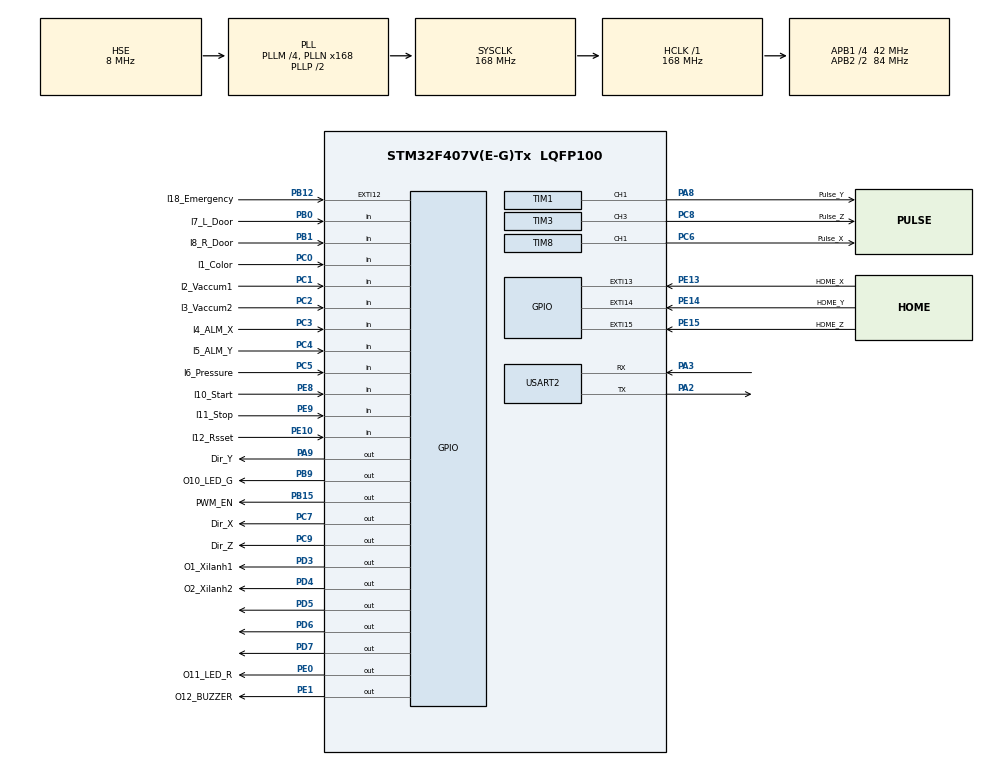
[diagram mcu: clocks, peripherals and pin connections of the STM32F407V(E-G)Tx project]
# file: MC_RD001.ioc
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Mcu.Family=STM32F4
Mcu.Name=STM32F407V(E-G)Tx
Mcu.Package=LQFP100
NVIC.EXTI15_10_IRQn=true\:0\:0\:true\:false\:true\:true\:true\:true
NVIC.PriorityGroup=NVIC_PRIORITYGROUP_4
NVIC.TIM1_BRK_TIM9_IRQn=true\:1\:0\:true\:false\:true\:true\:true\:true
NVIC.TIM2_IRQn=true\:1\:0\:true\:false\:true\:true\:true\:true
NVIC.TIM5_IRQn=true\:1\:0\:true\:false\:true\:true\:true\:true
NVIC.TIM6_DAC_IRQn=true\:10\:0\:true\:false\:true\:true\:true\:true
NVIC.USART2_IRQn=true\:5\:0\:true\:false\:true\:true\:true\:true
PA13.Mode=Serial_Wire
PA13.Signal=SYS_JTMS-SWDIO
PA14.Mode=Serial_Wire
PA14.Signal=SYS_JTCK-SWCLK
PA2.Mode=Asynchronous
PA2.Signal=USART2_TX
PA3.Mode=Asynchronous
PA3.Signal=USART2_RX
PA8.GPIO_Label=Pulse_Y
PA8.GPIO_PuPd=GPIO_PULLDOWN
PA8.GPIO_Speed=GPIO_SPEED_FREQ_HIGH
PA8.Signal=S_TIM1_CH1
PA9.GPIO_Label=Dir_Y
PA9.Signal=GPIO_Output
PB0.GPIO_Label=I7_L_Door
PB0.Signal=GPIO_Input
PB1.GPIO_Label=I8_R_Door
PB1.Signal=GPIO_Input
PB12.GPIO_Label=I18_Emergency
PB12.Signal=GPXTI12
PB15.GPIO_Label=PWM_EN
PB15.PinState=GPIO_PIN_RESET
PB15.Signal=GPIO_Output
PB9.GPIO_Label=O10_LED_G
PB9.Signal=GPIO_Output
PC0.GPIO_Label=I1_Color
PC0.Signal=GPIO_Input
PC1.GPIO_Label=I2_Vaccum1
PC1.GPIO_PuPd=GPIO_NOPULL
PC1.Signal=GPIO_Input
PC2.GPIO_Label=I3_Vaccum2
PC2.Signal=GPIO_Input
PC3.GPIO_Label=I4_ALM_X
PC3.Signal=GPIO_Input
PC4.GPIO_Label=I5_ALM_Y
PC4.Signal=GPIO_Input
PC5.GPIO_Label=I6_Pressure
PC5.Signal=GPIO_Input
PC6.GPIO_Label=Pulse_X
PC6.GPIO_PuPd=GPIO_PULLDOWN
PC6.GPIO_Speed=GPIO_SPEED_FREQ_HIGH
PC6.Signal=S_TIM8_CH1
PC7.GPIO_Label=Dir_X
PC7.Signal=GPIO_Output
PC8.GPIO_Label=Pulse_Z
PC8.GPIO_PuPd=GPIO_PULLDOWN
PC8.GPIO_Speed=GPIO_SPEED_FREQ_HIGH
PC8.Signal=S_TIM3_CH3
PC9.GPIO_Label=Dir_Z
PC9.Signal=GPIO_Output
PD3.GPIO_Label=O1_Xilanh1
PD3.PinState=GPIO_PIN_SET
PD3.Signal=GPIO_Output
PD4.GPIO_Label=O2_Xilanh2
PD4.PinState=GPIO_PIN_SET
PD4.Signal=GPIO_Output
PD5.PinState=GPIO_PIN_SET
PD5.Signal=GPIO_Output
PD6.PinState=GPIO_PIN_SET
PD6.Signal=GPIO_Output
PD7.PinState=GPIO_PIN_SET
PD7.Signal=GPIO_Output
PE0.GPIO_Label=O11_LED_R
PE0.Signal=GPIO_Output
PE1.GPIO_Label=O12_BUZZER
PE1.Signal=GPIO_Output
PE10.GPIO_Label=I12_Rsset
PE10.Signal=GPIO_Input
PE13.GPIO_Label=HOME_X
PE13.GPIO_ModeDefaultEXTI=GPIO_MODE_IT_RISING
PE13.GPIO_PuPd=GPIO_NOPULL
PE13.Signal=GPXTI13
PE14.GPIO_Label=HOME_Y
PE14.GPIO_ModeDefaultEXTI=GPIO_MODE_IT_RISING
PE14.GPIO_PuPd=GPIO_NOPULL
PE14.Signal=GPXTI14
PE15.GPIO_Label=HOME_Z
PE15.GPIO_ModeDefaultEXTI=GPIO_MODE_IT_RISING
PE15.GPIO_PuPd=GPIO_NOPULL
PE15.Signal=GPXTI15
PE8.GPIO_Label=I10_Start
PE8.Signal=GPIO_Input
PE9.GPIO_Label=I11_Stop
PE9.Signal=GPIO_Input
PH0-OSC_IN.Mode=HSE-External-Oscillator
PH0-OSC_IN.Signal=RCC_OSC_IN
PH1-OSC_OUT.Mode=HSE-External-Oscillator
PH1-OSC_OUT.Signal=RCC_OSC_OUT
ProjectManager.HeapSize=0x200
ProjectManager.StackSize=0x400
ProjectManager.TargetToolchain=STM32CubeIDE
RCC.48MHZClocksFreq_Value=84000000
RCC.AHBFreq_Value=168000000
RCC.APB1CLKDivider=RCC_HCLK_DIV4
RCC.APB1Freq_Value=42000000
RCC.APB1TimFreq_Value=84000000
RCC.APB2CLKDivider=RCC_HCLK_DIV2
RCC.APB2Freq_Value=84000000
RCC.APB2TimFreq_Value=168000000
RCC.CortexFreq_Value=168000000
RCC.HCLKFreq_Value=168000000
RCC.HSE_VALUE=8000000
RCC.HSI_VALUE=16000000
RCC.LSE_VALUE=32768
RCC.PLLM=4
RCC.PLLN=168
RCC.PLLSourceVirtual=RCC_PLLSOURCE_HSE
RCC.SYSCLKFreq_VALUE=168000000
RCC.SYSCLKSource=RCC_SYSCLKSOURCE_PLLCLK
RCC.VCOOutputFreq_Value=336000000
SH.S_TIM1_CH1.0=TIM1_CH1,PWM Generation1 CH1
SH.S_TIM3_CH3.0=TIM3_CH3,PWM Generation3 CH3
SH.S_TIM8_CH1.0=TIM8_CH1,PWM Generation1 CH1
TIM1.Channel-PWM\ Generation1\ CH1=TIM_CHANNEL_1
TIM1.OCPolarity_1=TIM_OCPOLARITY_LOW
TIM1.Period=100-1
TIM1.Prescaler=168-1
TIM1.Pulse-PWM\ Generation1\ CH1=50-1
TIM1.TIM_MasterOutputTrigger=TIM_TRGO_OC1REF
TIM2.Period=20-1
TIM3.Channel-PWM\ Generation3\ CH3=TIM_CHANNEL_3
TIM3.OCPolarity_3=TIM_OCPOLARITY_LOW
TIM3.Period=100-1
TIM3.Prescaler=84-1
TIM3.Pulse-PWM\ Generation3\ CH3=50-1
TIM3.TIM_MasterOutputTrigger=TIM_TRGO_OC3REF
TIM5.Period=20-1
TIM6.Period=1000-1
TIM6.Prescaler=84-1
TIM8.Channel-PWM\ Generation1\ CH1=TIM_CHANNEL_1
TIM8.OCPolarity_1=TIM_OCPOLARITY_LOW
TIM8.Period=100-1
TIM8.Prescaler=168-1
TIM8.Pulse-PWM\ Generation1\ CH1=50-1
TIM8.TIM_MasterOutputTrigger=TIM_TRGO_OC1REF
TIM9.Period=20-1
USART2.VirtualMode=VM_ASYNC
VP_TIM2_VS_ClockSourceITR.Mode=TriggerSource_ITR0
VP_TIM2_VS_ControllerModeClock.Mode=Clock Mode
VP_TIM5_VS_ClockSourceITR.Mode=TriggerSource_ITR3
VP_TIM5_VS_ControllerModeClock.Mode=Clock Mode
VP_TIM6_VS_ClockSourceINT.Mode=Enable_Timer
VP_TIM9_VS_ClockSourceITR.Mode=TriggerSource_ITR1
VP_TIM9_VS_ControllerModeClock.Mode=Clock Mode
board=custom

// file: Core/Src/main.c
/* USER CODE BEGIN Header */
/**
  ******************************************************************************
  * @file           : main.c
  * @brief          : Main program body
  ******************************************************************************
  * @attention
  *
  * Copyright (c) 2025 STMicroelectronics.
  * All rights reserved.
  *
  * This software is licensed under terms that can be found in the LICENSE file
  * in the root directory of this software component.
  * If no LICENSE file comes with this software, it is provided AS-IS.
  *
  ******************************************************************************
  */
/* USER CODE END Header */
#include "main.h"

/* USER CODE BEGIN Includes */
#include "motor_ctr.h"
#include "modbusSlave.h"
#include "modbus_task.h"
#include "axis_task.h"
#include "glass.h"
/* USER CODE END Includes */

TIM_HandleTypeDef htim1;
TIM_HandleTypeDef htim2;
TIM_HandleTypeDef htim3;
TIM_HandleTypeDef htim5;
TIM_HandleTypeDef htim6;
TIM_HandleTypeDef htim8;
TIM_HandleTypeDef htim9;

UART_HandleTypeDef huart2;

/* USER CODE BEGIN PV */
volatile uint32_t tick_ms = 0;
volatile uint8_t flag_10ms = 0;
volatile uint8_t flag_50ms = 0;
volatile uint8_t flag_1000ms = 0;
/* USER CODE END PV */

void SystemClock_Config(void);
static void MX_GPIO_Init(void);
static void MX_TIM1_Init(void);
static void MX_TIM2_Init(void);
static void MX_TIM3_Init(void);
static void MX_TIM5_Init(void);
static void MX_TIM8_Init(void);
static void MX_TIM9_Init(void);
static void MX_TIM6_Init(void);
static void MX_USART2_UART_Init(void);

/* USER CODE BEGIN 0 */
void HAL_TIM_PeriodElapsedCallback(TIM_HandleTypeDef *htim)
{
    if (htim == &htim6)
    {
        tick_ms++;

        if ((tick_ms % 10) == 0)   flag_10ms = 1;
        if ((tick_ms % 50) == 0)   flag_50ms = 1;
        if ((tick_ms % 1000) == 0)  flag_1000ms = 1;
    }
	if(htim->Instance == TIM5){
	  Motor_Stop(AXIS_X);
	}
	if(htim->Instance == TIM2){
	  Motor_Stop(AXIS_Y);
	}
	if(htim->Instance == TIM9){
	  Motor_Stop(AXIS_Z);
	}
}
/* USER CODE END 0 */

int main(void)
{

  /* MCU Configuration--------------------------------------------------------*/

  /* Reset of all peripherals, Initializes the Flash interface and the Systick. */
  HAL_Init();

  /* Configure the system clock */
  SystemClock_Config();

  /* Initialize all configured peripherals */
  MX_GPIO_Init();
  MX_TIM1_Init();
  MX_TIM2_Init();
  MX_TIM3_Init();
  MX_TIM5_Init();
  MX_TIM8_Init();
  MX_TIM9_Init();
  MX_TIM6_Init();
  MX_USART2_UART_Init();
  /* USER CODE BEGIN 2 */
  HAL_TIM_Base_Start_IT(&htim2);
  HAL_TIM_Base_Start_IT(&htim5);
  HAL_TIM_Base_Start_IT(&htim9);
  HAL_TIM_Base_Start_IT(&htim6);
  /* USER CODE END 2 */

  /* Infinite loop */
  /* USER CODE BEGIN WHILE */
  HAL_Delay(1000);
  Axis_Init();
  Modbus_TaskInit(&huart2);
  //Home_All();
  PanelScanner_Init();
  Axis_Home();
  //PanelScanner_StartRange(0, 3);
  while (1)
  {
    /* USER CODE END WHILE */

    /* USER CODE BEGIN 3 */
//	  Motor_SetFeed_X(50000.0f);
//	  Set_Dir_X(RIGHT);
//	  Motor_Start_X(50000);
//	  Motor_SetFeed_Y(10000.0f);
//	  Set_Dir_Y(FORWARD);
//	  Motor_Start_Y(10000);
//	  Motor_SetFeed_Z(20000.0f);
//	  Set_Dir_Z(DOWN);
//	  Motor_Start_Z(20000);
//
//	  HAL_Delay(1000);
//
//	  Set_Dir_X(LEFT);
//	  Motor_Start_X(50000);
//	  Set_Dir_Y(BACKWARD);
//	  Motor_Start_Y(10000);
//	  Set_Dir_Z(UP);
//	  Motor_Start_Z(20000);
//	  HAL_Delay(1000);

	if (flag_10ms)
	{
		flag_10ms = 0;
		Axis_TaskUpdate();
		Modbus_TaskUpdate();
		PanelScanner_Update();
		Modbus_ExecuteCommands();
	}
//
//	if (flag_50ms)
//	{
//		flag_50ms = 0;
//		// Task_50ms();
//	}
//
	if (flag_1000ms)
	{
		flag_1000ms = 0;
//	  HAL_GPIO_TogglePin(GPIOD, GPIO_PIN_5);
//	  HAL_GPIO_TogglePin(GPIOD, GPIO_PIN_3);
//	  HAL_GPIO_TogglePin(GPIOD, GPIO_PIN_7);
	}
	//	#ifndef DEBUG
	//		__WFI();
	//	#endif
  }
  /* USER CODE END 3 */
}

void SystemClock_Config(void)
{
  RCC_OscInitTypeDef RCC_OscInitStruct = {0};
  RCC_ClkInitTypeDef RCC_ClkInitStruct = {0};

  /** Configure the main internal regulator output voltage
  */
  __HAL_RCC_PWR_CLK_ENABLE();
  __HAL_PWR_VOLTAGESCALING_CONFIG(PWR_REGULATOR_VOLTAGE_SCALE1);

  /** Initializes the RCC Oscillators according to the specified parameters
  * in the RCC_OscInitTypeDef structure.
  */
  RCC_OscInitStruct.OscillatorType = RCC_OSCILLATORTYPE_HSE;
  RCC_OscInitStruct.HSEState = RCC_HSE_ON;
  RCC_OscInitStruct.PLL.PLLState = RCC_PLL_ON;
  RCC_OscInitStruct.PLL.PLLSource = RCC_PLLSOURCE_HSE;
  RCC_OscInitStruct.PLL.PLLM = 4;
  RCC_OscInitStruct.PLL.PLLN = 168;
  RCC_OscInitStruct.PLL.PLLP = RCC_PLLP_DIV2;
  RCC_OscInitStruct.PLL.PLLQ = 4;
  if (HAL_RCC_OscConfig(&RCC_OscInitStruct) != HAL_OK)
  {
    Error_Handler();
  }

  /** Initializes the CPU, AHB and APB buses clocks
  */
  RCC_ClkInitStruct.ClockType = RCC_CLOCKTYPE_HCLK|RCC_CLOCKTYPE_SYSCLK
                              |RCC_CLOCKTYPE_PCLK1|RCC_CLOCKTYPE_PCLK2;
  RCC_ClkInitStruct.SYSCLKSource = RCC_SYSCLKSOURCE_PLLCLK;
  RCC_ClkInitStruct.AHBCLKDivider = RCC_SYSCLK_DIV1;
  RCC_ClkInitStruct.APB1CLKDivider = RCC_HCLK_DIV4;
  RCC_ClkInitStruct.APB2CLKDivider = RCC_HCLK_DIV2;

  if (HAL_RCC_ClockConfig(&RCC_ClkInitStruct, FLASH_LATENCY_5) != HAL_OK)
  {
    Error_Handler();
  }
}

static void MX_TIM1_Init(void)
{

  /* USER CODE BEGIN TIM1_Init 0 */
	//f_PWM = TIM_CLK / ((PSC + 1) × (ARR + 1))
	// f_Clock = 168MHz/168 = 1MHz
	// f_PWM = 1MHz/100 = 10kHz
	// Duty cycle = 49/100 ≈ 50%
  /* USER CODE END TIM1_Init 0 */

  TIM_MasterConfigTypeDef sMasterConfig = {0};
  TIM_OC_InitTypeDef sConfigOC = {0};
  TIM_BreakDeadTimeConfigTypeDef sBreakDeadTimeConfig = {0};

  htim1.Instance = TIM1;
  htim1.Init.Prescaler = 168-1;
  htim1.Init.CounterMode = TIM_COUNTERMODE_UP;
  htim1.Init.Period = 100-1;
  htim1.Init.ClockDivision = TIM_CLOCKDIVISION_DIV1;
  htim1.Init.RepetitionCounter = 0;
  htim1.Init.AutoReloadPreload = TIM_AUTORELOAD_PRELOAD_DISABLE;
  if (HAL_TIM_PWM_Init(&htim1) != HAL_OK)
  {
    Error_Handler();
  }
  sMasterConfig.MasterOutputTrigger = TIM_TRGO_OC1REF;
  sMasterConfig.MasterSlaveMode = TIM_MASTERSLAVEMODE_DISABLE;
  if (HAL_TIMEx_MasterConfigSynchronization(&htim1, &sMasterConfig) != HAL_OK)
  {
    Error_Handler();
  }
  sConfigOC.OCMode = TIM_OCMODE_PWM1;
  sConfigOC.Pulse = 50-1;
  sConfigOC.OCPolarity = TIM_OCPOLARITY_LOW;
  sConfigOC.OCNPolarity = TIM_OCNPOLARITY_HIGH;
  sConfigOC.OCFastMode = TIM_OCFAST_DISABLE;
  sConfigOC.OCIdleState = TIM_OCIDLESTATE_RESET;
  sConfigOC.OCNIdleState = TIM_OCNIDLESTATE_RESET;
  if (HAL_TIM_PWM_ConfigChannel(&htim1, &sConfigOC, TIM_CHANNEL_1) != HAL_OK)
  {
    Error_Handler();
  }
  sBreakDeadTimeConfig.OffStateRunMode = TIM_OSSR_DISABLE;
  sBreakDeadTimeConfig.OffStateIDLEMode = TIM_OSSI_DISABLE;
  sBreakDeadTimeConfig.LockLevel = TIM_LOCKLEVEL_OFF;
  sBreakDeadTimeConfig.DeadTime = 0;
  sBreakDeadTimeConfig.BreakState = TIM_BREAK_DISABLE;
  sBreakDeadTimeConfig.BreakPolarity = TIM_BREAKPOLARITY_HIGH;
  sBreakDeadTimeConfig.AutomaticOutput = TIM_AUTOMATICOUTPUT_DISABLE;
  if (HAL_TIMEx_ConfigBreakDeadTime(&htim1, &sBreakDeadTimeConfig) != HAL_OK)
  {
    Error_Handler();
  }
  HAL_TIM_MspPostInit(&htim1);

}

static void MX_TIM2_Init(void)
{

  TIM_SlaveConfigTypeDef sSlaveConfig = {0};
  TIM_MasterConfigTypeDef sMasterConfig = {0};

  htim2.Instance = TIM2;
  htim2.Init.Prescaler = 0;
  htim2.Init.CounterMode = TIM_COUNTERMODE_UP;
  htim2.Init.Period = 20-1;
  htim2.Init.ClockDivision = TIM_CLOCKDIVISION_DIV1;
  htim2.Init.AutoReloadPreload = TIM_AUTORELOAD_PRELOAD_DISABLE;
  if (HAL_TIM_Base_Init(&htim2) != HAL_OK)
  {
    Error_Handler();
  }
  sSlaveConfig.SlaveMode = TIM_SLAVEMODE_EXTERNAL1;
  sSlaveConfig.InputTrigger = TIM_TS_ITR0;
  if (HAL_TIM_SlaveConfigSynchro(&htim2, &sSlaveConfig) != HAL_OK)
  {
    Error_Handler();
  }
  sMasterConfig.MasterOutputTrigger = TIM_TRGO_RESET;
  sMasterConfig.MasterSlaveMode = TIM_MASTERSLAVEMODE_DISABLE;
  if (HAL_TIMEx_MasterConfigSynchronization(&htim2, &sMasterConfig) != HAL_OK)
  {
    Error_Handler();
  }

}

static void MX_TIM3_Init(void)
{

  TIM_MasterConfigTypeDef sMasterConfig = {0};
  TIM_OC_InitTypeDef sConfigOC = {0};

  htim3.Instance = TIM3;
  htim3.Init.Prescaler = 84-1;
  htim3.Init.CounterMode = TIM_COUNTERMODE_UP;
  htim3.Init.Period = 100-1;
  htim3.Init.ClockDivision = TIM_CLOCKDIVISION_DIV1;
  htim3.Init.AutoReloadPreload = TIM_AUTORELOAD_PRELOAD_DISABLE;
  if (HAL_TIM_PWM_Init(&htim3) != HAL_OK)
  {
    Error_Handler();
  }
  sMasterConfig.MasterOutputTrigger = TIM_TRGO_OC3REF;
  sMasterConfig.MasterSlaveMode = TIM_MASTERSLAVEMODE_DISABLE;
  if (HAL_TIMEx_MasterConfigSynchronization(&htim3, &sMasterConfig) != HAL_OK)
  {
    Error_Handler();
  }
  sConfigOC.OCMode = TIM_OCMODE_PWM1;
  sConfigOC.Pulse = 50-1;
  sConfigOC.OCPolarity = TIM_OCPOLARITY_LOW;
  sConfigOC.OCFastMode = TIM_OCFAST_DISABLE;
  if (HAL_TIM_PWM_ConfigChannel(&htim3, &sConfigOC, TIM_CHANNEL_3) != HAL_OK)
  {
    Error_Handler();
  }
  HAL_TIM_MspPostInit(&htim3);

}

static void MX_TIM5_Init(void)
{

  TIM_SlaveConfigTypeDef sSlaveConfig = {0};
  TIM_MasterConfigTypeDef sMasterConfig = {0};

  htim5.Instance = TIM5;
  htim5.Init.Prescaler = 0;
  htim5.Init.CounterMode = TIM_COUNTERMODE_UP;
  htim5.Init.Period = 20-1;
  htim5.Init.ClockDivision = TIM_CLOCKDIVISION_DIV1;
  htim5.Init.AutoReloadPreload = TIM_AUTORELOAD_PRELOAD_DISABLE;
  if (HAL_TIM_Base_Init(&htim5) != HAL_OK)
  {
    Error_Handler();
  }
  sSlaveConfig.SlaveMode = TIM_SLAVEMODE_EXTERNAL1;
  sSlaveConfig.InputTrigger = TIM_TS_ITR3;
  if (HAL_TIM_SlaveConfigSynchro(&htim5, &sSlaveConfig) != HAL_OK)
  {
    Error_Handler();
  }
  sMasterConfig.MasterOutputTrigger = TIM_TRGO_RESET;
  sMasterConfig.MasterSlaveMode = TIM_MASTERSLAVEMODE_DISABLE;
  if (HAL_TIMEx_MasterConfigSynchronization(&htim5, &sMasterConfig) != HAL_OK)
  {
    Error_Handler();
  }

}

static void MX_TIM6_Init(void)
{

  TIM_MasterConfigTypeDef sMasterConfig = {0};

  htim6.Instance = TIM6;
  htim6.Init.Prescaler = 84-1;
  htim6.Init.CounterMode = TIM_COUNTERMODE_UP;
  htim6.Init.Period = 1000-1;
  htim6.Init.AutoReloadPreload = TIM_AUTORELOAD_PRELOAD_DISABLE;
  if (HAL_TIM_Base_Init(&htim6) != HAL_OK)
  {
    Error_Handler();
  }
  sMasterConfig.MasterOutputTrigger = TIM_TRGO_RESET;
  sMasterConfig.MasterSlaveMode = TIM_MASTERSLAVEMODE_DISABLE;
  if (HAL_TIMEx_MasterConfigSynchronization(&htim6, &sMasterConfig) != HAL_OK)
  {
    Error_Handler();
  }

}

static void MX_TIM8_Init(void)
{

  TIM_MasterConfigTypeDef sMasterConfig = {0};
  TIM_OC_InitTypeDef sConfigOC = {0};
  TIM_BreakDeadTimeConfigTypeDef sBreakDeadTimeConfig = {0};

  htim8.Instance = TIM8;
  htim8.Init.Prescaler = 168-1;
  htim8.Init.CounterMode = TIM_COUNTERMODE_UP;
  htim8.Init.Period = 100-1;
  htim8.Init.ClockDivision = TIM_CLOCKDIVISION_DIV1;
  htim8.Init.RepetitionCounter = 0;
  htim8.Init.AutoReloadPreload = TIM_AUTORELOAD_PRELOAD_DISABLE;
  if (HAL_TIM_PWM_Init(&htim8) != HAL_OK)
  {
    Error_Handler();
  }
  sMasterConfig.MasterOutputTrigger = TIM_TRGO_OC1REF;
  sMasterConfig.MasterSlaveMode = TIM_MASTERSLAVEMODE_DISABLE;
  if (HAL_TIMEx_MasterConfigSynchronization(&htim8, &sMasterConfig) != HAL_OK)
  {
    Error_Handler();
  }
  sConfigOC.OCMode = TIM_OCMODE_PWM1;
  sConfigOC.Pulse = 50-1;
  sConfigOC.OCPolarity = TIM_OCPOLARITY_LOW;
  sConfigOC.OCNPolarity = TIM_OCNPOLARITY_HIGH;
  sConfigOC.OCFastMode = TIM_OCFAST_DISABLE;
  sConfigOC.OCIdleState = TIM_OCIDLESTATE_RESET;
  sConfigOC.OCNIdleState = TIM_OCNIDLESTATE_RESET;
  if (HAL_TIM_PWM_ConfigChannel(&htim8, &sConfigOC, TIM_CHANNEL_1) != HAL_OK)
  {
    Error_Handler();
  }
  sBreakDeadTimeConfig.OffStateRunMode = TIM_OSSR_DISABLE;
  sBreakDeadTimeConfig.OffStateIDLEMode = TIM_OSSI_DISABLE;
  sBreakDeadTimeConfig.LockLevel = TIM_LOCKLEVEL_OFF;
  sBreakDeadTimeConfig.DeadTime = 0;
  sBreakDeadTimeConfig.BreakState = TIM_BREAK_DISABLE;
  sBreakDeadTimeConfig.BreakPolarity = TIM_BREAKPOLARITY_HIGH;
  sBreakDeadTimeConfig.AutomaticOutput = TIM_AUTOMATICOUTPUT_DISABLE;
  if (HAL_TIMEx_ConfigBreakDeadTime(&htim8, &sBreakDeadTimeConfig) != HAL_OK)
  {
    Error_Handler();
  }
  HAL_TIM_MspPostInit(&htim8);

}

static void MX_TIM9_Init(void)
{

  TIM_SlaveConfigTypeDef sSlaveConfig = {0};

  htim9.Instance = TIM9;
  htim9.Init.Prescaler = 0;
  htim9.Init.CounterMode = TIM_COUNTERMODE_UP;
  htim9.Init.Period = 20-1;
  htim9.Init.ClockDivision = TIM_CLOCKDIVISION_DIV1;
  htim9.Init.AutoReloadPreload = TIM_AUTORELOAD_PRELOAD_DISABLE;
  if (HAL_TIM_Base_Init(&htim9) != HAL_OK)
  {
    Error_Handler();
  }
  sSlaveConfig.SlaveMode = TIM_SLAVEMODE_EXTERNAL1;
  sSlaveConfig.InputTrigger = TIM_TS_ITR1;
  if (HAL_TIM_SlaveConfigSynchro(&htim9, &sSlaveConfig) != HAL_OK)
  {
    Error_Handler();
  }

}

static void MX_USART2_UART_Init(void)
{

  huart2.Instance = USART2;
  huart2.Init.BaudRate = 115200;
  huart2.Init.WordLength = UART_WORDLENGTH_8B;
  huart2.Init.StopBits = UART_STOPBITS_1;
  huart2.Init.Parity = UART_PARITY_NONE;
  huart2.Init.Mode = UART_MODE_TX_RX;
  huart2.Init.HwFlowCtl = UART_HWCONTROL_NONE;
  huart2.Init.OverSampling = UART_OVERSAMPLING_16;
  if (HAL_UART_Init(&huart2) != HAL_OK)
  {
    Error_Handler();
  }

}

static void MX_GPIO_Init(void)
{
  GPIO_InitTypeDef GPIO_InitStruct = {0};

  /* GPIO Ports Clock Enable */
  __HAL_RCC_GPIOH_CLK_ENABLE();
  __HAL_RCC_GPIOC_CLK_ENABLE();
  __HAL_RCC_GPIOA_CLK_ENABLE();
  __HAL_RCC_GPIOB_CLK_ENABLE();
  __HAL_RCC_GPIOE_CLK_ENABLE();
  __HAL_RCC_GPIOD_CLK_ENABLE();

  /*Configure GPIO pin Output Level */
  HAL_GPIO_WritePin(GPIOB, PWM_EN_Pin|O10_LED_G_Pin, GPIO_PIN_RESET);

  /*Configure GPIO pin Output Level */
  HAL_GPIO_WritePin(GPIOC, Dir_X_Pin|Dir_Z_Pin, GPIO_PIN_RESET);

  /*Configure GPIO pin Output Level */
  HAL_GPIO_WritePin(Dir_Y_GPIO_Port, Dir_Y_Pin, GPIO_PIN_RESET);

  /*Configure GPIO pin Output Level */
  HAL_GPIO_WritePin(GPIOD, O1_Xilanh1_Pin|O2_Xilanh2_Pin|GPIO_PIN_5|GPIO_PIN_6
                          |GPIO_PIN_7, GPIO_PIN_SET);

  /*Configure GPIO pin Output Level */
  HAL_GPIO_WritePin(GPIOE, O11_LED_R_Pin|O12_BUZZER_Pin, GPIO_PIN_RESET);

  /*Configure GPIO pins : I1_Color_Pin I2_Vaccum1_Pin I3_Vaccum2_Pin I4_ALM_X_Pin
                           I5_ALM_Y_Pin I6_Pressure_Pin */
  GPIO_InitStruct.Pin = I1_Color_Pin|I2_Vaccum1_Pin|I3_Vaccum2_Pin|I4_ALM_X_Pin
                          |I5_ALM_Y_Pin|I6_Pressure_Pin;
  GPIO_InitStruct.Mode = GPIO_MODE_INPUT;
  GPIO_InitStruct.Pull = GPIO_NOPULL;
  HAL_GPIO_Init(GPIOC, &GPIO_InitStruct);

  /*Configure GPIO pins : I7_L_Door_Pin I8_R_Door_Pin */
  GPIO_InitStruct.Pin = I7_L_Door_Pin|I8_R_Door_Pin;
  GPIO_InitStruct.Mode = GPIO_MODE_INPUT;
  GPIO_InitStruct.Pull = GPIO_NOPULL;
  HAL_GPIO_Init(GPIOB, &GPIO_InitStruct);

  /*Configure GPIO pins : I10_Start_Pin I11_Stop_Pin I12_Rsset_Pin */
  GPIO_InitStruct.Pin = I10_Start_Pin|I11_Stop_Pin|I12_Rsset_Pin;
  GPIO_InitStruct.Mode = GPIO_MODE_INPUT;
  GPIO_InitStruct.Pull = GPIO_NOPULL;
  HAL_GPIO_Init(GPIOE, &GPIO_InitStruct);

  /*Configure GPIO pins : HOME_X_Pin HOME_Y_Pin HOME_Z_Pin */
  GPIO_InitStruct.Pin = HOME_X_Pin|HOME_Y_Pin|HOME_Z_Pin;
  GPIO_InitStruct.Mode = GPIO_MODE_IT_RISING;
  GPIO_InitStruct.Pull = GPIO_NOPULL;
  HAL_GPIO_Init(GPIOE, &GPIO_InitStruct);

  /*Configure GPIO pin : I18_Emergency_Pin */
  GPIO_InitStruct.Pin = I18_Emergency_Pin;
  GPIO_InitStruct.Mode = GPIO_MODE_IT_RISING;
  GPIO_InitStruct.Pull = GPIO_NOPULL;
  HAL_GPIO_Init(I18_Emergency_GPIO_Port, &GPIO_InitStruct);

  /*Configure GPIO pins : PWM_EN_Pin O10_LED_G_Pin */
  GPIO_InitStruct.Pin = PWM_EN_Pin|O10_LED_G_Pin;
  GPIO_InitStruct.Mode = GPIO_MODE_OUTPUT_PP;
  GPIO_InitStruct.Pull = GPIO_NOPULL;
  GPIO_InitStruct.Speed = GPIO_SPEED_FREQ_LOW;
  HAL_GPIO_Init(GPIOB, &GPIO_InitStruct);

  /*Configure GPIO pins : Dir_X_Pin Dir_Z_Pin */
  GPIO_InitStruct.Pin = Dir_X_Pin|Dir_Z_Pin;
  GPIO_InitStruct.Mode = GPIO_MODE_OUTPUT_PP;
  GPIO_InitStruct.Pull = GPIO_NOPULL;
  GPIO_InitStruct.Speed = GPIO_SPEED_FREQ_LOW;
  HAL_GPIO_Init(GPIOC, &GPIO_InitStruct);

  /*Configure GPIO pin : Dir_Y_Pin */
  GPIO_InitStruct.Pin = Dir_Y_Pin;
  GPIO_InitStruct.Mode = GPIO_MODE_OUTPUT_PP;
  GPIO_InitStruct.Pull = GPIO_NOPULL;
  GPIO_InitStruct.Speed = GPIO_SPEED_FREQ_LOW;
  HAL_GPIO_Init(Dir_Y_GPIO_Port, &GPIO_InitStruct);

  /*Configure GPIO pins : O1_Xilanh1_Pin O2_Xilanh2_Pin PD5 PD6
                           PD7 */
  GPIO_InitStruct.Pin = O1_Xilanh1_Pin|O2_Xilanh2_Pin|GPIO_PIN_5|GPIO_PIN_6
                          |GPIO_PIN_7;
  GPIO_InitStruct.Mode = GPIO_MODE_OUTPUT_PP;
  GPIO_InitStruct.Pull = GPIO_NOPULL;
  GPIO_InitStruct.Speed = GPIO_SPEED_FREQ_LOW;
  HAL_GPIO_Init(GPIOD, &GPIO_InitStruct);

  /*Configure GPIO pins : O11_LED_R_Pin O12_BUZZER_Pin */
  GPIO_InitStruct.Pin = O11_LED_R_Pin|O12_BUZZER_Pin;
  GPIO_InitStruct.Mode = GPIO_MODE_OUTPUT_PP;
  GPIO_InitStruct.Pull = GPIO_NOPULL;
  GPIO_InitStruct.Speed = GPIO_SPEED_FREQ_LOW;
  HAL_GPIO_Init(GPIOE, &GPIO_InitStruct);

  /* EXTI interrupt init*/
  HAL_NVIC_SetPriority(EXTI15_10_IRQn, 0, 0);
  HAL_NVIC_EnableIRQ(EXTI15_10_IRQn);

}

void Error_Handler(void)
{
  __disable_irq();
  while (1)
  {
  }
}
